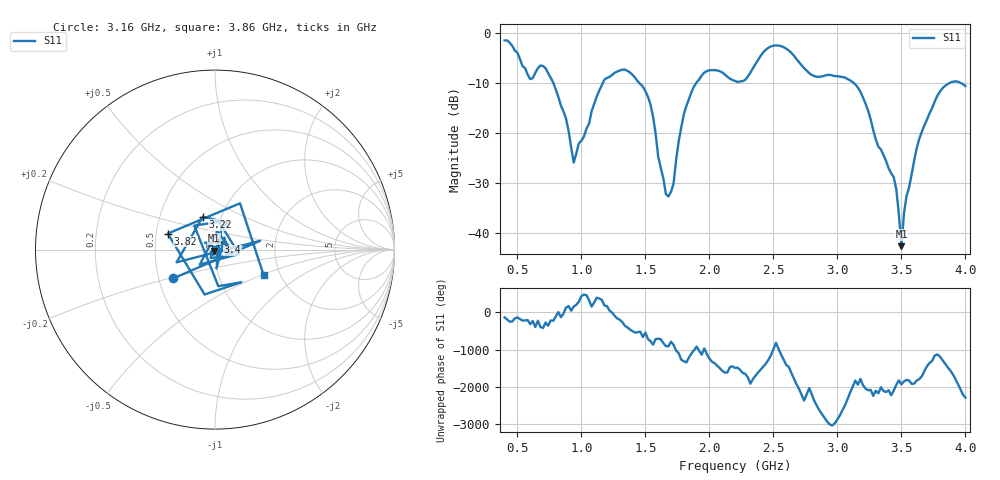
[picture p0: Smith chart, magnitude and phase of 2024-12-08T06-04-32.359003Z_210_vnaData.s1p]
!Created with skrf (http://scikit-rf.org).
# Hz S RI R 50.0
!freq ReS11 ImS11
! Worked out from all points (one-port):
!   181 points, 400 MHz to 4 GHz, reference 50 ohm
!   lowest |S11| = -42.7 dB at 3.5 GHz (marker M1), VSWR 1.01, Z = 49.5 - j0.508 ohm
!   |S11| at or under -10 dB: 780.2 MHz to 1.168 GHz (388 MHz wide, 39.8 % of centre); 1.451 GHz to 1.898 GHz (447.4 MHz wide, 26.7 % of centre); 3.126 GHz to 3.879 GHz (753 MHz wide, 21.5 % of centre) (the widest 3 of 4)
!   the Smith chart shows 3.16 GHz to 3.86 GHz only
!   S11 on the Smith chart (normalised r, x): 3.16 GHz: 0.59, -0.21; 3.22 GHz: 0.82, +0.31; 3.4 GHz: 1.03, +0.08; 3.82 GHz: 0.58, +0.11; 3.86 GHz: 1.64, -0.52
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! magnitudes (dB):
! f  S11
! 400 MHz  -1.5
! 600 MHz  -9.3
! 720 MHz  -7.1
! 860 MHz  -15.7
! 940 MHz  -26.0
! 1.18 GHz  -9.4
! 1.3 GHz  -7.5
! 1.52 GHz  -12.8
! 1.66 GHz  -32.3
! 1.72 GHz  -30.2
! 1.76 GHz  -21.8
! 1.86 GHz  -11.9
! 1.96 GHz  -8.0
! 2.2 GHz  -9.6
! 2.48 GHz  -2.7
! 2.66 GHz  -4.6
! 3.1 GHz  -9.5
! 3.16 GHz  -10.9
! 3.22 GHz  -14.2
! 3.4 GHz  -27.1
! 3.46 GHz  -31.3
! 3.5 GHz  -42.7
! 3.52 GHz  -36.2
! 3.56 GHz  -31.0
! 3.64 GHz  -21.2
! 3.82 GHz  -11.1
! 3.86 GHz  -10.3
! 4 GHz  -10.6
